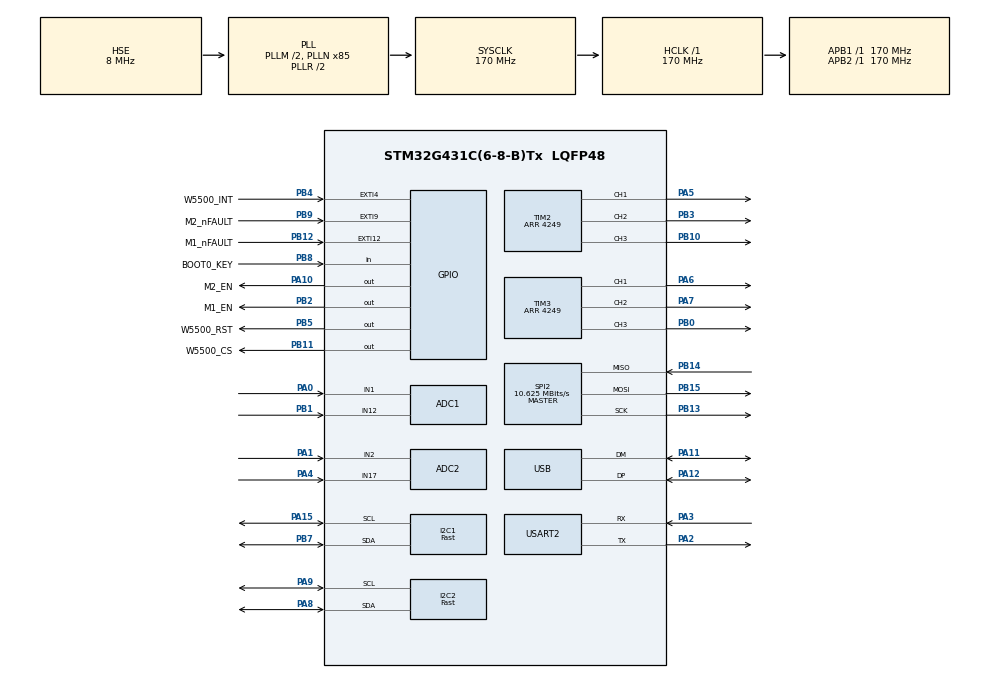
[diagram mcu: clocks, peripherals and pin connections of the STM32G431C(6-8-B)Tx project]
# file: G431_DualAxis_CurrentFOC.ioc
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ADC1.EOCSelection=ADC_EOC_SEQ_CONV
ADC1.EnableInjectedConversion=ENABLE
ADC1.EnableRegularConversion=DISABLE
ADC1.ExternalTrigInjecConv=ADC_EXTERNALTRIGINJEC_T1_TRGO2
ADC1.InjNumberOfConversion=2
ADC1.InjectedChannel-1\#ChannelInjectedConversion=ADC_CHANNEL_1
ADC1.InjectedChannel-2\#ChannelInjectedConversion=ADC_CHANNEL_12
ADC1.InjectedOffsetNumber-1\#ChannelInjectedConversion=ADC_OFFSET_NONE
ADC1.InjectedOffsetNumber-2\#ChannelInjectedConversion=ADC_OFFSET_NONE
ADC1.InjectedRank-1\#ChannelInjectedConversion=1
ADC1.InjectedRank-2\#ChannelInjectedConversion=2
ADC1.InjectedSamplingTime-1\#ChannelInjectedConversion=ADC_SAMPLETIME_12CYCLES_5
ADC1.InjectedSamplingTime-2\#ChannelInjectedConversion=ADC_SAMPLETIME_12CYCLES_5
ADC1.Mode=ADC_DUALMODE_INJECSIMULT
ADC1.Rank1_Channel=ADC_CHANNEL_1
ADC1.Rank2_Channel=ADC_CHANNEL_12
ADC1.master=1
ADC2.EOCSelection=ADC_EOC_SEQ_CONV
ADC2.EnableInjectedConversion=ENABLE
ADC2.EnableRegularConversion=DISABLE
ADC2.InjNumberOfConversion=2
ADC2.InjectedChannel-1\#ChannelInjectedConversion=ADC_CHANNEL_2
ADC2.InjectedChannel-2\#ChannelInjectedConversion=ADC_CHANNEL_17
ADC2.InjectedOffsetNumber-1\#ChannelInjectedConversion=ADC_OFFSET_NONE
ADC2.InjectedOffsetNumber-2\#ChannelInjectedConversion=ADC_OFFSET_NONE
ADC2.InjectedRank-1\#ChannelInjectedConversion=1
ADC2.InjectedRank-2\#ChannelInjectedConversion=2
ADC2.InjectedSamplingTime-1\#ChannelInjectedConversion=ADC_SAMPLETIME_12CYCLES_5
ADC2.InjectedSamplingTime-2\#ChannelInjectedConversion=ADC_SAMPLETIME_12CYCLES_5
ADC2.Mode=ADC_DUALMODE_INJECSIMULT
ADC2.Rank1_Channel=ADC_CHANNEL_2
ADC2.Rank2_Channel=ADC_CHANNEL_17
Dma.I2C1_RX.0.Direction=DMA_PERIPH_TO_MEMORY
Dma.I2C1_RX.0.EventEnable=DISABLE
Dma.I2C1_RX.0.Instance=DMA1_Channel1
Dma.I2C1_RX.0.MemDataAlignment=DMA_MDATAALIGN_BYTE
Dma.I2C1_RX.0.MemInc=DMA_MINC_ENABLE
Dma.I2C1_RX.0.Mode=DMA_NORMAL
Dma.I2C1_RX.0.PeriphDataAlignment=DMA_PDATAALIGN_BYTE
Dma.I2C1_RX.0.PeriphInc=DMA_PINC_DISABLE
Dma.I2C1_RX.0.Polarity=HAL_DMAMUX_REQ_GEN_RISING
Dma.I2C1_RX.0.Priority=DMA_PRIORITY_HIGH
Dma.I2C1_RX.0.RequestNumber=1
Dma.I2C1_RX.0.SignalID=NONE
Dma.I2C1_RX.0.SyncEnable=DISABLE
Dma.I2C1_RX.0.SyncPolarity=HAL_DMAMUX_SYNC_NO_EVENT
Dma.I2C1_RX.0.SyncRequestNumber=1
Dma.I2C1_RX.0.SyncSignalID=NONE
Dma.I2C2_RX.1.Direction=DMA_PERIPH_TO_MEMORY
Dma.I2C2_RX.1.EventEnable=DISABLE
Dma.I2C2_RX.1.Instance=DMA1_Channel2
Dma.I2C2_RX.1.MemDataAlignment=DMA_MDATAALIGN_BYTE
Dma.I2C2_RX.1.MemInc=DMA_MINC_ENABLE
Dma.I2C2_RX.1.Mode=DMA_NORMAL
Dma.I2C2_RX.1.PeriphDataAlignment=DMA_PDATAALIGN_BYTE
Dma.I2C2_RX.1.PeriphInc=DMA_PINC_DISABLE
Dma.I2C2_RX.1.Polarity=HAL_DMAMUX_REQ_GEN_RISING
Dma.I2C2_RX.1.Priority=DMA_PRIORITY_HIGH
Dma.I2C2_RX.1.RequestNumber=1
Dma.I2C2_RX.1.SignalID=NONE
Dma.I2C2_RX.1.SyncEnable=DISABLE
Dma.I2C2_RX.1.SyncPolarity=HAL_DMAMUX_SYNC_NO_EVENT
Dma.I2C2_RX.1.SyncRequestNumber=1
Dma.I2C2_RX.1.SyncSignalID=NONE
Dma.Request0=I2C1_RX
Dma.Request1=I2C2_RX
Dma.Request2=USART2_RX
Dma.Request3=SPI2_RX
Dma.Request4=SPI2_TX
Dma.SPI2_RX.3.Direction=DMA_PERIPH_TO_MEMORY
Dma.SPI2_RX.3.EventEnable=DISABLE
Dma.SPI2_RX.3.Instance=DMA1_Channel4
Dma.SPI2_RX.3.MemDataAlignment=DMA_MDATAALIGN_BYTE
Dma.SPI2_RX.3.MemInc=DMA_MINC_ENABLE
Dma.SPI2_RX.3.Mode=DMA_NORMAL
Dma.SPI2_RX.3.PeriphDataAlignment=DMA_PDATAALIGN_BYTE
Dma.SPI2_RX.3.PeriphInc=DMA_PINC_DISABLE
Dma.SPI2_RX.3.Polarity=HAL_DMAMUX_REQ_GEN_RISING
Dma.SPI2_RX.3.Priority=DMA_PRIORITY_LOW
Dma.SPI2_RX.3.RequestNumber=1
Dma.SPI2_RX.3.SignalID=NONE
Dma.SPI2_RX.3.SyncEnable=DISABLE
Dma.SPI2_RX.3.SyncPolarity=HAL_DMAMUX_SYNC_NO_EVENT
Dma.SPI2_RX.3.SyncRequestNumber=1
Dma.SPI2_RX.3.SyncSignalID=NONE
Dma.SPI2_TX.4.Direction=DMA_MEMORY_TO_PERIPH
Dma.SPI2_TX.4.EventEnable=DISABLE
Dma.SPI2_TX.4.Instance=DMA1_Channel5
Dma.SPI2_TX.4.MemDataAlignment=DMA_MDATAALIGN_BYTE
Dma.SPI2_TX.4.MemInc=DMA_MINC_ENABLE
Dma.SPI2_TX.4.Mode=DMA_NORMAL
Dma.SPI2_TX.4.PeriphDataAlignment=DMA_PDATAALIGN_BYTE
Dma.SPI2_TX.4.PeriphInc=DMA_PINC_DISABLE
Dma.SPI2_TX.4.Polarity=HAL_DMAMUX_REQ_GEN_RISING
Dma.SPI2_TX.4.Priority=DMA_PRIORITY_LOW
Dma.SPI2_TX.4.RequestNumber=1
Dma.SPI2_TX.4.SignalID=NONE
Dma.SPI2_TX.4.SyncEnable=DISABLE
Dma.SPI2_TX.4.SyncPolarity=HAL_DMAMUX_SYNC_NO_EVENT
Dma.SPI2_TX.4.SyncRequestNumber=1
Dma.SPI2_TX.4.SyncSignalID=NONE
Dma.USART2_RX.2.Direction=DMA_PERIPH_TO_MEMORY
Dma.USART2_RX.2.EventEnable=DISABLE
Dma.USART2_RX.2.Instance=DMA1_Channel3
Dma.USART2_RX.2.MemDataAlignment=DMA_MDATAALIGN_BYTE
Dma.USART2_RX.2.MemInc=DMA_MINC_ENABLE
Dma.USART2_RX.2.Mode=DMA_CIRCULAR
Dma.USART2_RX.2.PeriphDataAlignment=DMA_PDATAALIGN_BYTE
Dma.USART2_RX.2.PeriphInc=DMA_PINC_DISABLE
Dma.USART2_RX.2.Polarity=HAL_DMAMUX_REQ_GEN_RISING
Dma.USART2_RX.2.Priority=DMA_PRIORITY_MEDIUM
Dma.USART2_RX.2.RequestNumber=1
Dma.USART2_RX.2.SignalID=NONE
Dma.USART2_RX.2.SyncEnable=DISABLE
Dma.USART2_RX.2.SyncPolarity=HAL_DMAMUX_SYNC_NO_EVENT
Dma.USART2_RX.2.SyncRequestNumber=1
Dma.USART2_RX.2.SyncSignalID=NONE
I2C1.I2C_Speed_Mode=I2C_Fast
I2C1.Timing=0x40621236
I2C2.I2C_Speed_Mode=I2C_Fast
I2C2.Timing=0x40621236
Mcu.Family=STM32G4
Mcu.Name=STM32G431C(6-8-B)Tx
Mcu.Package=LQFP48
NVIC.ADC1_2_IRQn=true\:1\:0\:true\:false\:true\:true\:true\:true
NVIC.DMA1_Channel1_IRQn=true\:4\:0\:true\:false\:true\:false\:true\:true
NVIC.DMA1_Channel2_IRQn=true\:4\:0\:true\:false\:true\:false\:true\:true
NVIC.DMA1_Channel3_IRQn=true\:5\:0\:true\:false\:true\:false\:true\:true
NVIC.DMA1_Channel4_IRQn=true\:6\:0\:true\:false\:true\:false\:true\:true
NVIC.DMA1_Channel5_IRQn=true\:6\:0\:true\:false\:true\:false\:true\:true
NVIC.EXTI15_10_IRQn=true\:0\:0\:false\:false\:true\:true\:true\:true
NVIC.EXTI4_IRQn=true\:6\:0\:true\:false\:true\:true\:true\:true
NVIC.EXTI9_5_IRQn=true\:0\:0\:false\:false\:true\:true\:true\:true
NVIC.I2C1_ER_IRQn=true\:4\:0\:true\:false\:true\:true\:true\:true
NVIC.I2C1_EV_IRQn=true\:4\:0\:true\:false\:true\:true\:true\:true
NVIC.I2C2_ER_IRQn=true\:4\:0\:true\:false\:true\:true\:true\:true
NVIC.I2C2_EV_IRQn=true\:4\:0\:true\:false\:true\:true\:true\:true
NVIC.PriorityGroup=NVIC_PRIORITYGROUP_4
NVIC.TIM6_DAC_IRQn=true\:3\:0\:true\:false\:true\:true\:true\:true
NVIC.USB_LP_IRQn=true\:7\:0\:true\:false\:true\:false\:true\:true
PA0.Mode=IN1-Single-Ended
PA0.Signal=ADC1_IN1
PA1.Mode=IN2-Single-Ended
PA1.Signal=ADC2_IN2
PA10.GPIO_Label=M2_EN
PA10.Signal=GPIO_Output
PA11.Mode=Device
PA11.Signal=USB_DM
PA12.Mode=Device
PA12.Signal=USB_DP
PA13.Mode=Serial_Wire
PA13.Signal=SYS_JTMS-SWDIO
PA14.Mode=Serial_Wire
PA14.Signal=SYS_JTCK-SWCLK
PA15.Mode=I2C
PA15.Signal=I2C1_SCL
PA2.Mode=Asynchronous
PA2.Signal=USART2_TX
PA3.Mode=Asynchronous
PA3.Signal=USART2_RX
PA4.Mode=IN17-Single-Ended
PA4.Signal=ADC2_IN17
PA5.Signal=S_TIM2_CH1
PA6.Signal=S_TIM3_CH1
PA7.Signal=S_TIM3_CH2
PA8.Mode=I2C
PA8.Signal=I2C2_SDA
PA9.Mode=I2C
PA9.Signal=I2C2_SCL
PB0.Signal=S_TIM3_CH3
PB1.Mode=IN12-Single-Ended
PB1.Signal=ADC1_IN12
PB10.Signal=S_TIM2_CH3
PB11.GPIO_Label=W5500_CS
PB11.GPIO_Speed=GPIO_SPEED_FREQ_HIGH
PB11.PinState=GPIO_PIN_SET
PB11.Signal=GPIO_Output
PB12.GPIO_Label=M1_nFAULT
PB12.GPIO_ModeDefaultEXTI=GPIO_MODE_IT_FALLING
PB12.Signal=GPXTI12
PB13.GPIO_Speed=GPIO_SPEED_FREQ_VERY_HIGH
PB13.Mode=Full_Duplex_Master
PB13.Signal=SPI2_SCK
PB14.GPIO_Speed=GPIO_SPEED_FREQ_VERY_HIGH
PB14.Mode=Full_Duplex_Master
PB14.Signal=SPI2_MISO
PB15.GPIO_Speed=GPIO_SPEED_FREQ_VERY_HIGH
PB15.Mode=Full_Duplex_Master
PB15.Signal=SPI2_MOSI
PB2.GPIO_Label=M1_EN
PB2.Signal=GPIO_Output
PB3.Signal=S_TIM2_CH2
PB4.GPIO_Label=W5500_INT
PB4.GPIO_ModeDefaultEXTI=GPIO_MODE_IT_FALLING
PB4.GPIO_PuPd=GPIO_PULLUP
PB4.Signal=GPXTI4
PB5.GPIO_Label=W5500_RST
PB5.Signal=GPIO_Output
PB7.Mode=I2C
PB7.Signal=I2C1_SDA
PB8-BOOT0.GPIO_Label=BOOT0_KEY
PB8-BOOT0.Signal=GPIO_Input
PB9.GPIO_Label=M2_nFAULT
PB9.GPIO_ModeDefaultEXTI=GPIO_MODE_IT_FALLING
PB9.Signal=GPXTI9
PC14-OSC32_IN.Mode=LSE-External-Oscillator
PC14-OSC32_IN.Signal=RCC_OSC32_IN
PC15-OSC32_OUT.Mode=LSE-External-Oscillator
PC15-OSC32_OUT.Signal=RCC_OSC32_OUT
PF0-OSC_IN.Mode=HSE-External-Oscillator
PF0-OSC_IN.Signal=RCC_OSC_IN
PF1-OSC_OUT.Mode=HSE-External-Oscillator
PF1-OSC_OUT.Signal=RCC_OSC_OUT
ProjectManager.HeapSize=0x200
ProjectManager.StackSize=0x400
ProjectManager.TargetToolchain=CMake
RCC.ADC12Freq_Value=170000000
RCC.AHBFreq_Value=170000000
RCC.APB1Freq_Value=170000000
RCC.APB1TimFreq_Value=170000000
RCC.APB2Freq_Value=170000000
RCC.APB2TimFreq_Value=170000000
RCC.CK48CLockSelection=RCC_USBCLKSOURCE_HSI48
RCC.CortexFreq_Value=170000000
RCC.EXTERNAL_CLOCK_VALUE=12288000
RCC.HCLKFreq_Value=170000000
RCC.HSE_VALUE=8000000
RCC.HSI48_VALUE=48000000
RCC.HSI_VALUE=16000000
RCC.PLLM=RCC_PLLM_DIV2
RCC.PLLN=85
RCC.PLLSourceVirtual=RCC_PLLSOURCE_HSE
RCC.SYSCLKFreq_VALUE=170000000
RCC.SYSCLKSource=RCC_SYSCLKSOURCE_PLLCLK
RCC.USBFreq_Value=48000000
RCC.VCOOutputFreq_Value=340000000
SH.S_TIM2_CH1.0=TIM2_CH1,PWM Generation1 CH1
SH.S_TIM2_CH2.0=TIM2_CH2,PWM Generation2 CH2
SH.S_TIM2_CH3.0=TIM2_CH3,PWM Generation3 CH3
SH.S_TIM3_CH1.0=TIM3_CH1,PWM Generation1 CH1
SH.S_TIM3_CH2.0=TIM3_CH2,PWM Generation2 CH2
SH.S_TIM3_CH3.0=TIM3_CH3,PWM Generation3 CH3
SPI2.BaudRatePrescaler=SPI_BAUDRATEPRESCALER_16
SPI2.CalculateBaudRate=10.625 MBits/s
SPI2.DataSize=SPI_DATASIZE_8BIT
SPI2.Direction=SPI_DIRECTION_2LINES
SPI2.Mode=SPI_MODE_MASTER
SPI2.NSSPMode=SPI_NSS_PULSE_DISABLE
SPI2.VirtualType=VM_MASTER
TIM1.AutoReloadPreload=TIM_AUTORELOAD_PRELOAD_ENABLE
TIM1.Channel-PWM\ Generation4\ No\ Output=TIM_CHANNEL_4
TIM1.CounterMode=TIM_COUNTERMODE_CENTERALIGNED1
TIM1.OCMode_PWM-PWM\ Generation4\ No\ Output=TIM_OCMODE_PWM2
TIM1.PeriodNoDither=4249
TIM1.PulseNoDither_4=4248
TIM1.TIM_MasterOutputTrigger=TIM_TRGO_ENABLE
TIM1.TIM_MasterOutputTrigger2=TIM_TRGO2_OC4REF
TIM2.AutoReloadPreload=TIM_AUTORELOAD_PRELOAD_ENABLE
TIM2.Channel-PWM\ Generation1\ CH1=TIM_CHANNEL_1
TIM2.Channel-PWM\ Generation2\ CH2=TIM_CHANNEL_2
TIM2.Channel-PWM\ Generation3\ CH3=TIM_CHANNEL_3
TIM2.CounterMode=TIM_COUNTERMODE_CENTERALIGNED1
TIM2.PeriodNoDither=4249
TIM3.AutoReloadPreload=TIM_AUTORELOAD_PRELOAD_ENABLE
TIM3.Channel-PWM\ Generation1\ CH1=TIM_CHANNEL_1
TIM3.Channel-PWM\ Generation2\ CH2=TIM_CHANNEL_2
TIM3.Channel-PWM\ Generation3\ CH3=TIM_CHANNEL_3
TIM3.CounterMode=TIM_COUNTERMODE_CENTERALIGNED1
TIM3.PeriodNoDither=4249
TIM6.AutoReloadPreload=TIM_AUTORELOAD_PRELOAD_ENABLE
TIM6.PeriodNoDither=999
TIM6.Prescaler=169
USART2.VirtualMode-Asynchronous=VM_ASYNC
USB_DEVICE.CLASS_NAME_FS=CDC
USB_DEVICE.VirtualMode=Cdc
USB_DEVICE.VirtualModeFS=Cdc_FS
VP_CORDIC_VS_CORDIC.Mode=CORDIC_Activate
VP_SYS_VS_DBSignals.Mode=DisableDeadBatterySignals
VP_TIM1_VS_ClockSourceINT.Mode=Internal
VP_TIM1_VS_no_output4.Mode=PWM Generation4 No Output
VP_TIM2_VS_ClockSourceINT.Mode=Internal
VP_TIM2_VS_ClockSourceITR.Mode=TriggerSource_ITR0
VP_TIM2_VS_ControllerModeReset.Mode=Reset Mode
VP_TIM3_VS_ClockSourceINT.Mode=Internal
VP_TIM3_VS_ClockSourceITR.Mode=TriggerSource_ITR0
VP_TIM3_VS_ControllerModeReset.Mode=Reset Mode
VP_TIM6_VS_ClockSourceINT.Mode=Enable_Timer
VP_USB_DEVICE_VS_USB_DEVICE_CDC_FS.Mode=CDC_FS
board=custom

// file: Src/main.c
/* USER CODE BEGIN Header */
/**
  ******************************************************************************
  * @file           : main.c
  * @brief          : Main program body
  ******************************************************************************
  * @attention
  *
  * Copyright (c) 2026 STMicroelectronics.
  * All rights reserved.
  *
  * This software is licensed under terms that can be found in the LICENSE file
  * in the root directory of this software component.
  * If no LICENSE file comes with this software, it is provided AS-IS.
  *
  ******************************************************************************
  */
/* USER CODE END Header */
#include "main.h"
#include "adc.h"
#include "cordic.h"
#include "dma.h"
#include "i2c.h"
#include "spi.h"
#include "tim.h"
#include "usart.h"
#include "usb_device.h"
#include "gpio.h"

/* USER CODE BEGIN Includes */
#include "phase_current.h"
#include "usb_debug.h"
#include "as5600.h"
#include "current_foc.h"
#include "motor2_calibration.h"
#include "gimbal_udp.h"
/* USER CODE END Includes */

/* USER CODE BEGIN PV */
volatile uint32_t current_start_status = 0U;
PhaseCurrentData current_debug;
volatile bool as5600_m1_init_ok = false;
volatile bool as5600_m2_init_ok = false;
volatile bool gimbal_udp_init_ok = false;
/* USER CODE END PV */

void SystemClock_Config(void);

int main(void)
{

  /* MCU Configuration--------------------------------------------------------*/

  /* Reset of all peripherals, Initializes the Flash interface and the Systick. */
  HAL_Init();

  /* Configure the system clock */
  SystemClock_Config();

  /* Initialize all configured peripherals */
  MX_GPIO_Init();
  MX_DMA_Init();
  MX_ADC1_Init();
  MX_ADC2_Init();
  MX_I2C1_Init();
  MX_I2C2_Init();
  MX_TIM1_Init();
  MX_TIM2_Init();
  MX_TIM3_Init();
  MX_USB_Device_Init();
  MX_USART2_UART_Init();
  MX_CORDIC_Init();
  MX_TIM6_Init();
  MX_SPI2_Init();

  /* USER CODE BEGIN 2 */

        UsbDebug_Init();

        HAL_GPIO_WritePin(M1_EN_GPIO_Port, M1_EN_Pin, GPIO_PIN_RESET);
        HAL_GPIO_WritePin(M2_EN_GPIO_Port, M2_EN_Pin, GPIO_PIN_RESET);

        HAL_GPIO_WritePin(M1_EN_GPIO_Port, M1_EN_Pin, GPIO_PIN_RESET);
        HAL_GPIO_WritePin(M2_EN_GPIO_Port, M2_EN_Pin, GPIO_PIN_RESET);

        gimbal_udp_init_ok = GimbalUdp_Init();

        /* M1继续运行冻结的SERVO8；M2同时执行独立电角度标定。 */
        if (!CurrentFOC_Init()) {
            current_start_status = 103U;
        } else if (!Motor2Calibration_Init()) {
            current_start_status = 203U;
        } else if (PhaseCurrent_Init() == HAL_OK) {
            current_start_status = 1U;

            if (HAL_TIM_PWM_Start(&htim1, TIM_CHANNEL_4) == HAL_OK)
                current_start_status = 2U;
            else
                current_start_status = 102U;
        } else {
            current_start_status = 101U;
        }

        /* CubeMX既有接线：M1编码器=I2C2，M2编码器=I2C1。 */
        as5600_m1_init_ok =
            AS5600_InitAxis(AS5600_MOTOR1, &hi2c2);
        as5600_m2_init_ok =
            AS5600_InitAxis(AS5600_MOTOR2, &hi2c1);

        if (HAL_TIM_Base_Start_IT(&htim6) != HAL_OK)
        {
            as5600_m1_init_ok = false;
            as5600_m2_init_ok = false;
        }

  /* USER CODE END 2 */

  /* Infinite loop */
 while (1)
{

    /* USER CODE BEGIN 3 */
  CurrentFOC_Task();          // M1控制
  Motor2Calibration_Task();   // M2校准与控制
  GimbalUdp_Task();            //UDP
  UsbDebug_Task();            // USB日志与FireWater输出

}
  /* USER CODE END 3 */
}

void SystemClock_Config(void)
{
  RCC_OscInitTypeDef RCC_OscInitStruct = {0};
  RCC_ClkInitTypeDef RCC_ClkInitStruct = {0};

  /** Configure the main internal regulator output voltage
  */
  HAL_PWREx_ControlVoltageScaling(PWR_REGULATOR_VOLTAGE_SCALE1_BOOST);

  /** Initializes the RCC Oscillators according to the specified parameters
  * in the RCC_OscInitTypeDef structure.
  */
  RCC_OscInitStruct.OscillatorType = RCC_OSCILLATORTYPE_HSI48|RCC_OSCILLATORTYPE_HSE;
  RCC_OscInitStruct.HSEState = RCC_HSE_ON;
  RCC_OscInitStruct.HSI48State = RCC_HSI48_ON;
  RCC_OscInitStruct.PLL.PLLState = RCC_PLL_ON;
  RCC_OscInitStruct.PLL.PLLSource = RCC_PLLSOURCE_HSE;
  RCC_OscInitStruct.PLL.PLLM = RCC_PLLM_DIV2;
  RCC_OscInitStruct.PLL.PLLN = 85;
  RCC_OscInitStruct.PLL.PLLP = RCC_PLLP_DIV2;
  RCC_OscInitStruct.PLL.PLLQ = RCC_PLLQ_DIV2;
  RCC_OscInitStruct.PLL.PLLR = RCC_PLLR_DIV2;
  if (HAL_RCC_OscConfig(&RCC_OscInitStruct) != HAL_OK)
  {
    Error_Handler();
  }

  /** Initializes the CPU, AHB and APB buses clocks
  */
  RCC_ClkInitStruct.ClockType = RCC_CLOCKTYPE_HCLK|RCC_CLOCKTYPE_SYSCLK
                              |RCC_CLOCKTYPE_PCLK1|RCC_CLOCKTYPE_PCLK2;
  RCC_ClkInitStruct.SYSCLKSource = RCC_SYSCLKSOURCE_PLLCLK;
  RCC_ClkInitStruct.AHBCLKDivider = RCC_SYSCLK_DIV1;
  RCC_ClkInitStruct.APB1CLKDivider = RCC_HCLK_DIV1;
  RCC_ClkInitStruct.APB2CLKDivider = RCC_HCLK_DIV1;

  if (HAL_RCC_ClockConfig(&RCC_ClkInitStruct, FLASH_LATENCY_4) != HAL_OK)
  {
    Error_Handler();
  }
}

/* USER CODE BEGIN 4 */
    void HAL_TIM_PeriodElapsedCallback(
        TIM_HandleTypeDef *htim)
    {
        if (htim->Instance == TIM6)
        {
            AS5600_RequestReadAll();
        }
    }
/* USER CODE END 4 */

void Error_Handler(void)
{
  __disable_irq();
  while (1)
  {
  }
}
